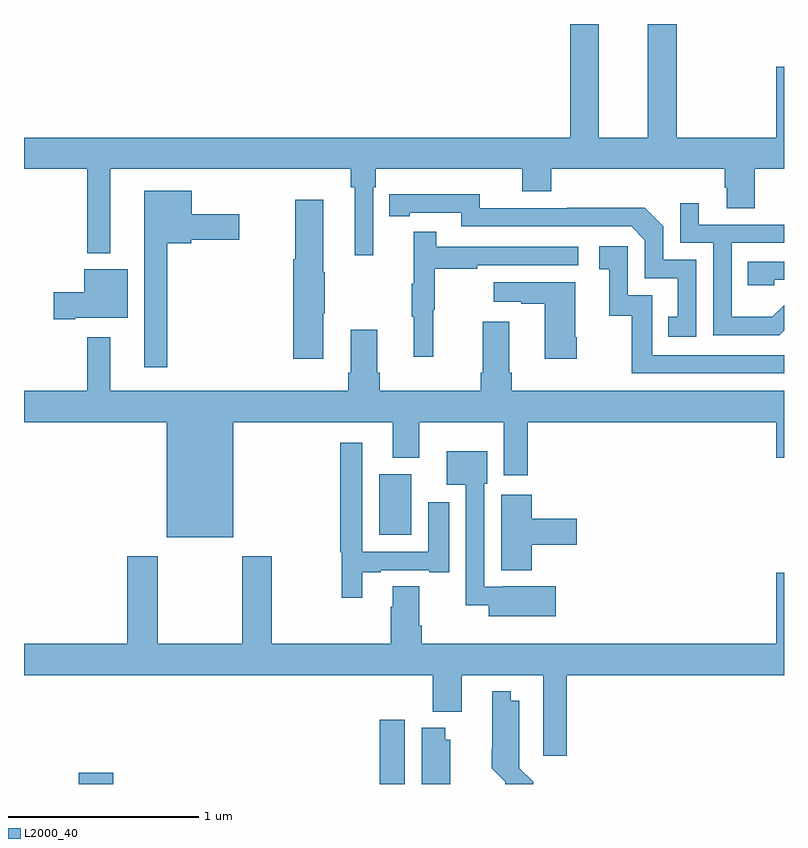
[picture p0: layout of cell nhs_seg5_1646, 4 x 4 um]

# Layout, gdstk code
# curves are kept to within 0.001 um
import gdstk
lib = gdstk.Library(unit=1e-6, precision=1e-09)
def R(c, l, rs):  # rectangles x0, y0, x1, y1
    for r in rs: c.add(gdstk.rectangle(r[:2], r[2:], *l))
def P(c, l, *ps):  # polygons
    for p in ps: c.add(gdstk.Polygon(p, *l))
L2000_40 = (2000, 40)

nhs_seg5_1646 = lib.new_cell('nhs_seg5_1646')
R(nhs_seg5_1646, L2000_40, [(209.288,910.799,209.471,910.858), (210.872,910.799,211.003,911.137), (210.869,912.11,211.039,912.43)])
P(nhs_seg5_1646, L2000_40, [(210.837,913.94),(210.851,913.94),(210.851,914.036),(211.622,914.036),(211.622,913.919),(211.775,913.919),(211.775,914.036),(212.687,914.036),(212.687,913.938),(212.699,913.938),(212.699,913.828),(212.847,913.828),(212.847,914.036),(213,914.036),(213,914.575),(212.96,914.575),(212.96,914.2),(212.435,914.2),(212.435,914.799),(212.282,914.799),(212.282,914.2),(212.026,914.2),(212.026,914.799),(211.874,914.799),(211.874,914.2),(209,914.2),(209,914.036),(209.334,914.036),(209.334,913.592),(209.455,913.592),(209.455,914.036),(210.721,914.036),(210.721,913.94),(210.74,913.94),(210.74,913.581),(210.837,913.581)],
  [(209.755,913.646),(209.88,913.646),(209.88,913.664),(210.133,913.664),(210.133,913.798),(209.884,913.798),(209.884,913.921),(209.633,913.921),(209.633,912.993),(209.755,912.993)],
  [(212.538,913.557),(212.364,913.557),(212.364,913.734),(212.266,913.832),(211.858,913.832),(211.858,913.83),(211.398,913.83),(211.398,913.903),(210.922,913.902),(210.922,913.786),(211.03,913.786),(211.03,913.806),(211.302,913.806),(211.302,913.734),(212.196,913.734),(212.268,913.662),(212.268,913.461),(212.441,913.461),(212.441,913.257),(212.392,913.257),(212.392,913.152),(212.538,913.152)],
  [(210.574,913.276),(210.582,913.276),(210.582,913.493),(210.574,913.493),(210.574,913.873),(210.428,913.873),(210.428,913.56),(210.416,913.56),(210.416,913.038),(210.574,913.038)],
  [(213,913.187),(213,913.32),(212.938,913.258),(212.724,913.258),(212.724,913.647),(213,913.647),(213,913.743),(212.551,913.743),(212.551,913.855),(212.454,913.855),(212.454,913.647),(212.628,913.647),(212.628,913.161),(212.974,913.161)],
  [(211.154,913.296),(211.162,913.296),(211.162,913.51),(211.385,913.51),(211.385,913.53),(211.918,913.53),(211.918,913.626),(211.169,913.626),(211.169,913.705),(211.052,913.705),(211.052,913.433),(211.041,913.433),(211.041,913.259),(211.052,913.259),(211.052,913.047),(211.154,913.047)],
  [(213,913.056),(212.307,913.056),(212.307,913.371),(212.178,913.371),(212.178,913.63),(212.028,913.63),(212.028,913.509),(212.081,913.509),(212.081,913.263),(212.199,913.263),(212.199,912.96),(213,912.96)],
  [(212.949,913.452),(213,913.452),(213,913.548),(212.809,913.548),(212.809,913.425),(212.949,913.425)],
  [(209.269,913.253),(209.545,913.253),(209.545,913.507),(209.318,913.507),(209.318,913.388),(209.157,913.388),(209.157,913.246),(209.269,913.246)],
  [(211.908,913.15),(211.9,913.15),(211.9,913.441),(211.473,913.441),(211.473,913.337),(211.616,913.337),(211.616,913.327),(211.742,913.327),(211.742,913.038),(211.908,913.038)],
  [(209.334,913.15),(209.334,912.868),(209,912.868),(209,912.704),(209.75,912.704),(209.75,912.098),(210.1,912.098),(210.1,912.704),(210.941,912.704),(210.941,912.515),(211.081,912.515),(211.081,912.704),(211.526,912.704),(211.526,912.423),(211.652,912.423),(211.652,912.704),(212.96,912.704),(212.96,912.516),(213,912.516),(213,912.868),(211.568,912.868),(211.568,912.964),(211.555,912.964),(211.555,913.231),(211.415,913.231),(211.415,912.964),(211.403,912.964),(211.403,912.868),(210.872,912.868),(210.872,912.964),(210.859,912.964),(210.859,913.189),(210.719,913.189),(210.719,912.964),(210.707,912.964),(210.707,912.868),(209.455,912.868),(209.455,913.15)],
  [(210.781,911.913),(210.877,911.913),(210.877,911.925),(211.133,911.925),(211.133,911.913),(211.237,911.913),(211.237,912.283),(211.127,912.283),(211.127,912.021),(210.78,912.021),(210.78,912.595),(210.664,912.595),(210.664,912.018),(210.672,912.018),(210.672,911.778),(210.781,911.778)],
  [(211.798,911.839),(211.519,911.839),(211.519,911.838),(211.422,911.838),(211.422,912.378),(211.438,912.378),(211.438,912.55),(211.226,912.55),(211.226,912.374),(211.326,912.374),(211.326,911.741),(211.445,911.741),(211.445,911.681),(211.798,911.681)],
  [(211.673,912.059),(211.909,912.059),(211.909,912.194),(211.673,912.194),(211.673,912.322),(211.511,912.322),(211.511,911.924),(211.673,911.924)],
  [(211.094,911.632),(211.081,911.632),(211.081,911.84),(210.941,911.84),(210.941,911.732),(210.929,911.732),(210.929,911.536),(210.303,911.536),(210.303,911.998),(210.148,911.998),(210.148,911.536),(209.703,911.536),(209.703,911.998),(209.543,911.998),(209.543,911.536),(209,911.536),(209,911.372),(211.151,911.372),(211.151,911.18),(211.303,911.18),(211.303,911.372),(211.733,911.372),(211.733,910.947),(211.856,910.947),(211.856,911.372),(213,911.372),(213,911.911),(212.96,911.911),(212.96,911.536),(211.094,911.536)],
  [(211.679,910.81),(211.607,910.882),(211.606,911.236),(211.561,911.236),(211.561,911.287),(211.464,911.287),(211.463,910.882),(211.533,910.812),(211.533,910.799),(211.679,910.799)],
  [(211.243,911.031),(211.216,911.031),(211.216,911.095),(211.094,911.095),(211.094,910.799),(211.243,910.799)])

lib.write_gds('nhs_seg5_1646.gds')
